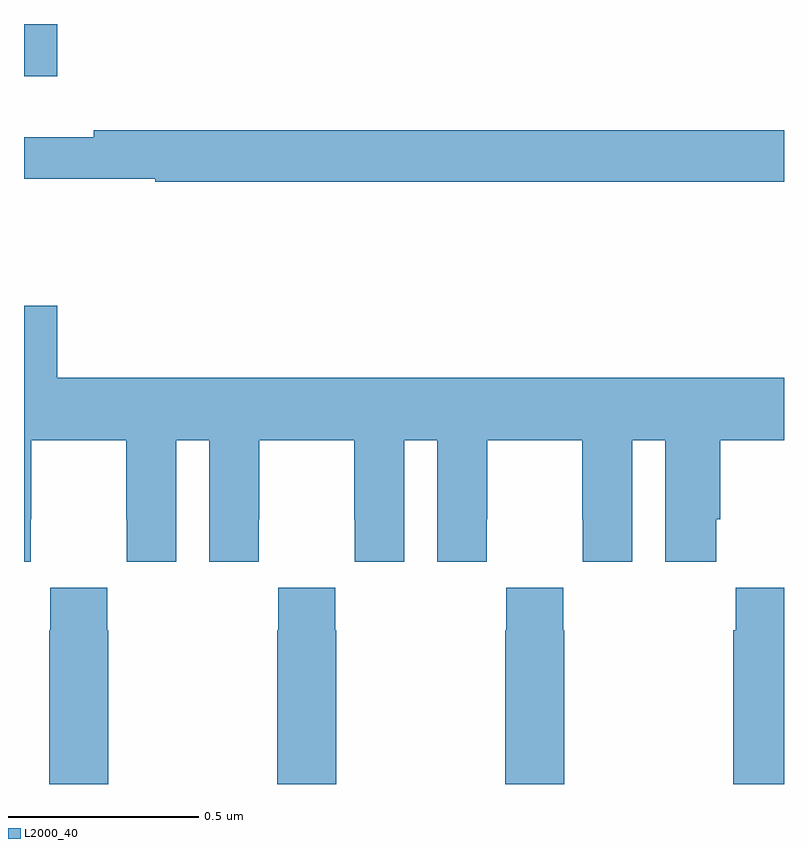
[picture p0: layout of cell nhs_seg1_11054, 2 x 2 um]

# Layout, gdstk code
import gdstk
lib = gdstk.Library(unit=1e-6, precision=1e-09)
def R(c, l, rs):  # rectangles x0, y0, x1, y1
    for r in rs: c.add(gdstk.rectangle(r[:2], r[2:], *l))
def P(c, l, *ps):  # polygons
    for p in ps: c.add(gdstk.Polygon(p, *l))
L2000_40 = (2000, 40)

nhs_seg1_11054 = lib.new_cell('nhs_seg1_11054')
R(nhs_seg1_11054, L2000_40, [(249,514.062,249.088,514.199)])
P(nhs_seg1_11054, L2000_40, [(251,513.92),(249.184,513.92),(249.184,513.901),(249,513.901),(249,513.792),(249.345,513.792),(249.345,513.784),(251,513.784)],
  [(249.018,512.896),(249.019,512.896),(249.019,513.104),(249.269,513.104),(249.269,512.896),(249.27,512.896),(249.27,512.784),(249.4,512.784),(249.4,513.104),(249.488,513.104),(249.488,512.784),(249.618,512.784),(249.618,512.896),(249.619,512.896),(249.619,513.104),(249.869,513.104),(249.869,512.896),(249.87,512.896),(249.87,512.784),(250,512.784),(250,513.104),(250.088,513.104),(250.088,512.784),(250.218,512.784),(250.218,512.896),(250.219,512.896),(250.219,513.104),(250.469,513.104),(250.469,512.896),(250.47,512.896),(250.47,512.784),(250.6,512.784),(250.6,513.104),(250.688,513.104),(250.688,512.784),(250.822,512.784),(250.822,512.896),(250.832,512.896),(250.832,513.104),(251,513.104),(251,513.268),(249.088,513.268),(249.088,513.457),(249,513.457),(249,512.784),(249.018,512.784)],
  [(250.422,512.603),(250.419,512.603),(250.419,512.716),(250.269,512.716),(250.269,512.603),(250.267,512.603),(250.267,512.199),(250.422,512.199)],
  [(249.222,512.603),(249.219,512.603),(249.219,512.716),(249.069,512.716),(249.069,512.603),(249.067,512.603),(249.067,512.199),(249.222,512.199)],
  [(249.822,512.603),(249.819,512.603),(249.819,512.716),(249.669,512.716),(249.669,512.603),(249.667,512.603),(249.667,512.199),(249.822,512.199)],
  [(251,512.716),(250.873,512.716),(250.873,512.603),(250.867,512.603),(250.867,512.199),(251,512.199)])

lib.write_gds('nhs_seg1_11054.gds')
